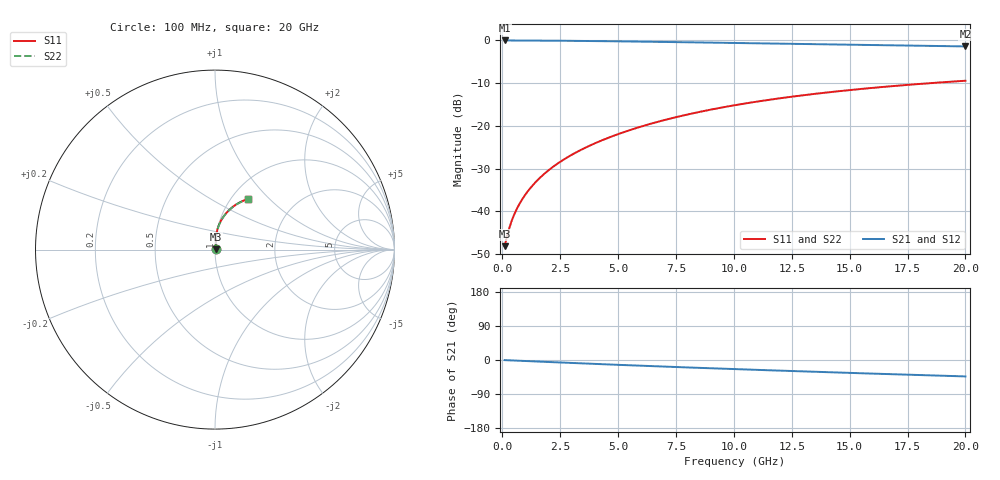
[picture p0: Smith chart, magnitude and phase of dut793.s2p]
! Touchstone file exported from HFSS 2024.1.0
!  File:  C:/UserFiles/LocalFiles/RDL_TSV_Batchsim/temp_RDL_top_793_1779853444.aedt
!  Generated:  11:46:18 AM May 27, 2026
!  Design:  RDL_top
!  Project:  temp_RDL_top_793_1779853444
!  Setup:  Setup1
!  Solution:  Sweep
! Variables:
!  dtsv = 10.80580581um
!  hbump = 3um
!  htsv = 60.59um
!  ldown = 100um
!  lrdl = 658.99um
!  p = 40
!  p1 = 45.1um
!  rhole = 1um
!  t = 450um
!  tdown = 3.915915916um
!  trdl = 2.98um
!  wdown = 15.38538539um
!  wrdl = 24.11um
# GHz S MA R 50.000000
! Terminal data exported
! Port[1] = Box2_T1
! Port[2] = Box2_T2
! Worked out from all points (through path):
!   200 points, 100 MHz to 20 GHz, reference 50 ohm
!   highest |S21| = -0.03 dB at 100 MHz (marker M1); lowest = -1.4 dB at 20 GHz (marker M2)
!   group delay of S21, straight-line fit = 5.96 ps
!   lowest |S11| = -48.2 dB at 100 MHz (marker M3), VSWR 1.01, Z = 50.3 + j0.177 ohm
!   |S11| at or under -10 dB: start of sweep to 18.53 GHz
!   |S22| runs from -48.2 to -9.5 dB; largest |S21 - S12| = 5.1e-15
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0.1  0.003906 26.8  0.9965 -0.3  0.9965 -0.3  0.003906 26.8
! Gamma 0 0 0 0
! Port Impedance 50 0 50 0
0.3  0.006323 52.3  0.996 -0.8  0.996 -0.8  0.006323 52.3
0.4  0.007649 58.1  0.9958 -1.1  0.9958 -1.1  0.007649 58.0
0.5  0.008973 62.2  0.9955 -1.4  0.9955 -1.4  0.008973 62.2
0.6  0.0103 65.4  0.9953 -1.6  0.9953 -1.6  0.0103 65.4
0.8  0.01298 70.1  0.9948 -2.1  0.9948 -2.1  0.01298 70.1
1  0.01572 73.5  0.9944 -2.7  0.9944 -2.7  0.01572 73.5
1.2  0.01852 76.0  0.9939 -3.2  0.9939 -3.2  0.01852 76.0
1.7  0.02575 80.1  0.9923 -4.5  0.9923 -4.5  0.02575 80.1
2.2  0.03326 82.4  0.9904 -5.8  0.9904 -5.8  0.03325 82.4
2.8  0.04261 84.1  0.9876 -7.3  0.9876 -7.3  0.0426 84.0
3.5  0.05399 85.0  0.9836 -9.1  0.9836 -9.1  0.05397 85.0
4.2  0.06584 85.3  0.9791 -10.8  0.9791 -10.8  0.06581 85.3
5  0.07989 85.1  0.9734 -12.8  0.9734 -12.8  0.07985 85.1
5.9  0.09623 84.3  0.9664 -14.9  0.9664 -14.9  0.09617 84.3
6.8  0.113 83.2  0.9591 -17.0  0.9591 -17.0  0.1129 83.1
8.4  0.1432 80.5  0.9456 -20.5  0.9456 -20.5  0.1431 80.4
10.1  0.1752 77.2  0.931 -24.2  0.931 -24.2  0.175 77.1
11.7  0.2047 73.8  0.9173 -27.5  0.9173 -27.5  0.2044 73.8
13.4  0.2348 70.2  0.9028 -30.9  0.9028 -30.9  0.2345 70.2
16.7  0.2889 63.4  0.8753 -37.3  0.8753 -37.3  0.2886 63.3
20  0.3366 56.9  0.8487 -43.3  0.8487 -43.3  0.3362 56.8
